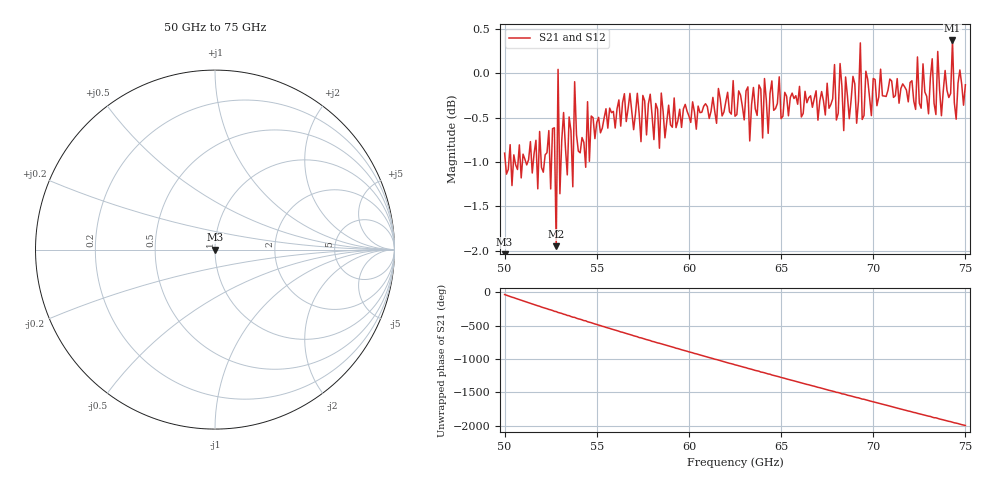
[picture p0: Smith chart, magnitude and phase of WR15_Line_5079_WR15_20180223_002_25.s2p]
# GHZ S RI R 50
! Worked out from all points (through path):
!   251 points, 50 GHz to 75 GHz, reference 50 ohm
!   highest |S21| = 0.37 dB at 74.3 GHz (marker M1); lowest = -2.0 dB at 52.8 GHz (marker M2)
!   lowest |S11| = - dB at 50 GHz (marker M3), VSWR 1.00, Z = 50 + j1.46e-15 ohm
!   |S11| at or under -10 dB: start of sweep to end of sweep
!   |S22| runs from - to - dB; largest |S21 - S12| = 2e-15
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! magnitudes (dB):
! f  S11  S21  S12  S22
! 50 GHz  -  -0.9  -0.9  -
! 52.4 GHz  -  -0.6  -0.6  -
! 52.5 GHz  -  -1.3  -1.3  -
! 52.7 GHz  -  -0.6  -0.6  -
! 52.8 GHz  -  -2.0  -2.0  -
! 52.9 GHz  -  0.0  0.0  -
! 53 GHz  -  -1.4  -1.4  -
! 53.2 GHz  -  -0.4  -0.4  -
! 53.7 GHz  -  -1.3  -1.3  -
! 53.8 GHz  -  -0.1  -0.1  -
! 54.2 GHz  -  -0.7  -0.7  -
! 58.4 GHz  -  -0.8  -0.8  -
! 58.5 GHz  -  -0.2  -0.2  -
! 62.5 GHz  -  -0.5  -0.5  -
! 66.7 GHz  -  -0.4  -0.4  -
! 70.9 GHz  -  -0.1  -0.1  -
! 73.4 GHz  -  -0.5  -0.5  -
! 73.5 GHz  -  0.2  0.2  -
! 73.7 GHz  -  -0.5  -0.5  -
! 74.3 GHz  -  0.4  0.4  -
! 74.5 GHz  -  -0.5  -0.5  -
! 75 GHz  -  -0.1  -0.1  -
